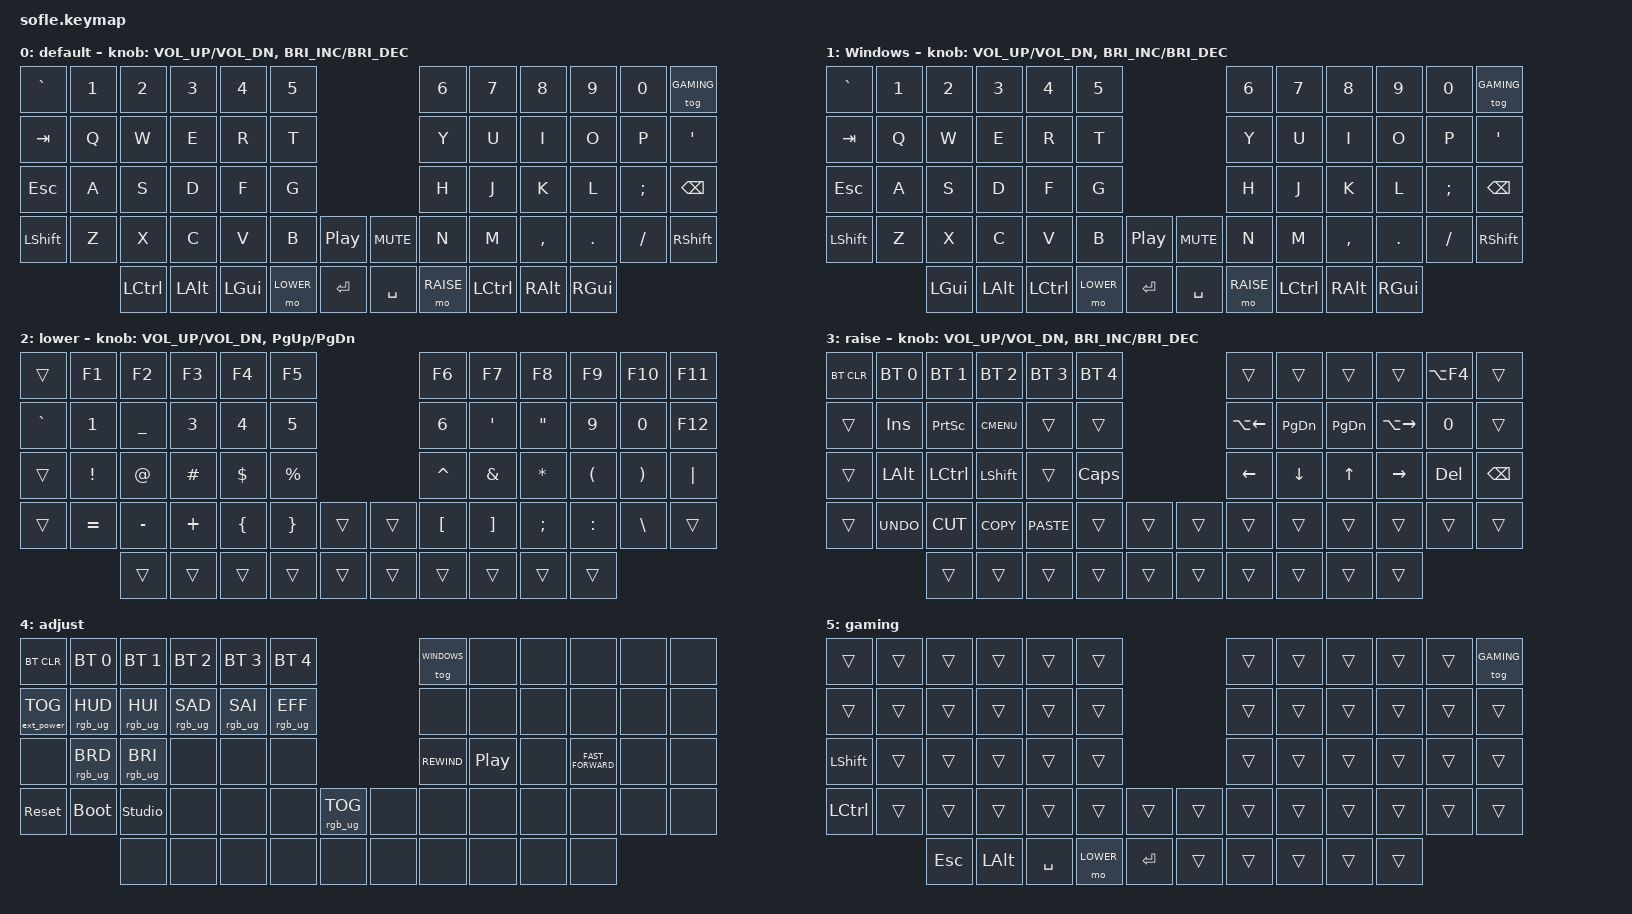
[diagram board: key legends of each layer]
/*
 * Copyright (c) 2020 The ZMK Contributors
 *
 * SPDX-License-Identifier: MIT
 */

#include <behaviors.dtsi>
#include <dt-bindings/zmk/bt.h>
#include <dt-bindings/zmk/ext_power.h>
#include <dt-bindings/zmk/keys.h>
#include <dt-bindings/zmk/rgb.h>

#define BASE       0
#define WINDOWS    1
#define LOWER      2
#define RAISE      3
#define ADJUST     4
#define GAMING     5

/ {
    // Activate ADJUST layer by pressing raise and lower

    conditional_layers {
        compatible = "zmk,conditional-layers";

        adjust_layer {
            if-layers = <LOWER RAISE>;
            then-layer = <ADJUST>;
        };
    };

    keymap {
        compatible = "zmk,keymap";

        default_layer {
            display-name = "default";

            // ------------------------------------------------------------------------------------------------------------
            // |   `   |  1  |  2  |  3   |  4   |  5   |                   |  6   |  7    |  8    |  9   |   0   |       |
            // |  ESC  |  Q  |  W  |  E   |  R   |  T   |                   |  Y   |  U    |  I    |  O   |   P   | BKSPC |
            // |  TAB  |  A  |  S  |  D   |  F   |  G   |                   |  H   |  J    |  K    |  L   |   ;   |   '   |
            // | SHIFT |  Z  |  X  |  C   |  V   |  B   |  MUTE  |  |       |  N   |  M    |  ,    |  .   |   /   | SHIFT |
            //               | GUI | ALT  | CTRL | LOWER|  ENTER |  | SPACE | RAISE| CTRL  | ALT   | GUI  |

            bindings = <
&kp GRAVE  &kp N1  &kp N2     &kp N3    &kp N4    &kp N5                                                    &kp N6  &kp N7     &kp N8     &kp N9    &kp N0    &tog GAMING
&kp TAB    &kp Q   &kp W      &kp E     &kp R     &kp T                                                     &kp Y   &kp U      &kp I      &kp O     &kp P     &kp SINGLE_QUOTE
&kp ESC    &kp A   &kp S      &kp D     &kp F     &kp G                                                     &kp H   &kp J      &kp K      &kp L     &kp SEMI  &kp BSPC
&kp LSHFT  &kp Z   &kp X      &kp C     &kp V     &kp B   &kp C_PP     &kp C_MUTE                           &kp N   &kp M      &kp COMMA  &kp DOT   &kp FSLH  &kp RSHFT
                   &kp LCTRL  &kp LALT  &kp LGUI  &mo LOWER   &kp ENTER    &kp SPACE  &mo RAISE   &kp LCTRL  &kp RALT   &kp RGUI
            >;

            sensor-bindings =
                <&inc_dec_kp C_VOL_UP C_VOL_DN>,
                <&inc_dec_kp C_BRIGHTNESS_INC C_BRIGHTNESS_DEC>;
        };

        Windows {
            display-name = "Windows";
            bindings = <
&kp GRAVE  &kp N1  &kp N2    &kp N3    &kp N4     &kp N5                                                    &kp N6  &kp N7     &kp N8     &kp N9    &kp N0    &tog GAMING
&kp TAB    &kp Q   &kp W     &kp E     &kp R      &kp T                                                     &kp Y   &kp U      &kp I      &kp O     &kp P     &kp SINGLE_QUOTE
&kp ESC    &kp A   &kp S     &kp D     &kp F      &kp G                                                     &kp H   &kp J      &kp K      &kp L     &kp SEMI  &kp BSPC
&kp LSHFT  &kp Z   &kp X     &kp C     &kp V      &kp B   &kp C_PP     &kp C_MUTE                           &kp N   &kp M      &kp COMMA  &kp DOT   &kp FSLH  &kp RSHFT
                   &kp LGUI  &kp LALT  &kp LCTRL  &mo LOWER   &kp ENTER    &kp SPACE  &mo RAISE   &kp LCTRL  &kp RALT   &kp RGUI
            >;

            sensor-bindings =
                <&inc_dec_kp C_VOL_UP C_VOL_DN>,
                <&inc_dec_kp C_BRIGHTNESS_INC C_BRIGHTNESS_DEC>;
        };

        lower_layer {
            display-name = "lower";

            // TODO: Some binds are waiting for shifted keycode support.
            // ------------------------------------------------------------------------------------------------------------
            // |       |  F1 |  F2 |  F3  |  F4  |  F5  |                   |  F6  |  F7   |  F8   |  F9  |  F10  |  F11  |
            // |   `   |  1  |  2  |  3   |  4   |  5   |                   |  6   |  7    |  8    |  9   |   0   |  F12  |
            // |       |  !  |  @  |  #   |  $   |  %   |                   |  ^   |  &    |  *    |  (   |   )   |   |   |
            // |       |  =  |  -  |  +   |  {   |  }   |        |  |       |  [   |  ]    |  ;    |  :   |   \   |       |
            //               |     |      |      |      |        |  |       |      |       |       |      |

            bindings = <
&trans     &kp F1     &kp F2     &kp F3    &kp F4    &kp F5                       &kp F6     &kp F7          &kp F8             &kp F9     &kp F10   &kp F11
&kp GRAVE  &kp N1     &kp UNDER  &kp N3    &kp N4    &kp N5                       &kp N6     &kp APOSTROPHE  &kp DOUBLE_QUOTES  &kp N9     &kp N0    &kp F12
&trans     &kp EXCL   &kp AT     &kp HASH  &kp DLLR  &kp PRCNT                    &kp CARET  &kp AMPS        &kp ASTRK          &kp LPAR   &kp RPAR  &kp PIPE
&trans     &kp EQUAL  &kp MINUS  &kp PLUS  &kp LBRC  &kp RBRC   &trans    &trans  &kp LBKT   &kp RBKT        &kp SEMI           &kp COLON  &kp BSLH  &trans
                      &trans     &trans    &trans    &trans     &trans    &trans  &trans     &trans          &trans             &trans
            >;

            sensor-bindings =
                <&inc_dec_kp C_VOL_UP C_VOL_DN>,
                <&inc_dec_kp PG_UP PG_DN>;
        };

        raise_layer {
            display-name = "raise";
            // Press the number-row 0 position while holding Raise to send Alt+F4.

            // ------------------------------------------------------------------------------------------------------------
            // | BTCLR | BT1  | BT2  |  BT3  |  BT4  |  BT5 |                |      |      |       |      |       |       |
            // |       | INS  | PSCR | GUI   |       |      |                | PGUP |      |   ^   |      |       |       |
            // |       | ALT  | CTRL | SHIFT |       | CAPS |                | PGDN |   <- |   v   |  ->  |  DEL  | BKSPC |
            // |       | UNDO | CUT  | COPY  | PASTE |      |      |  |      |      |      |       |      |       |       |
            //                |      |       |       |      |      |  |      |      |      |       |      |

            bindings = <
&bt BT_CLR  &bt BT_SEL 0  &bt BT_SEL 1  &bt BT_SEL 2  &bt BT_SEL 3  &bt BT_SEL 4                    &trans              &trans          &trans         &trans         &kp LA(F4)   &trans
&trans      &kp INS       &kp PSCRN     &kp K_CMENU   &trans        &trans                          &kp LA(LEFT_ARROW)  &kp PAGE_DOWN   &kp PAGE_DOWN  &kp LA(RIGHT)  &kp N0   &trans
&trans      &kp LALT      &kp LCTRL     &kp LSHFT     &trans        &kp CLCK                        &kp LEFT_ARROW      &kp DOWN_ARROW  &kp UP_ARROW   &kp RIGHT      &kp DEL  &kp BSPC
&trans      &kp K_UNDO    &kp K_CUT     &kp K_COPY    &kp K_PASTE   &trans        &trans    &trans  &trans              &trans          &trans         &trans         &trans   &trans
                          &trans        &trans        &trans        &trans        &trans    &trans  &trans              &trans          &trans         &trans
            >;

            sensor-bindings =
                <&inc_dec_kp C_VOL_UP C_VOL_DN>,
                <&inc_dec_kp C_BRIGHTNESS_INC C_BRIGHTNESS_DEC>;
        };

        adjust_layer {
            // ----------------------------------------------------------------------------------------------------------------------------
            // | BTCLR  |  BT1    |  BT2    |   BT3   |   BT4   |   BT5   |                  |      |      |       |      |       |       |
            // | EXTPWR | RGB_HUD | RGB_HUI | RGB_SAD | RGB_SAI | RGB_EFF |                  |      |      |       |      |       |       |
            // |        | RGB_BRD | RGB_BRI |         |         |         |                  |      |      |       |      |       |       |
            // |        |         |         |         |         |         | RGB_TOG | |      |      |      |       |      |       |       |
            //                    |         |         |         |         |         | |      |      |      |       |      |

            display-name = "adjust";
            bindings = <
&bt BT_CLR         &bt BT_SEL 0     &bt BT_SEL 1     &bt BT_SEL 2     &bt BT_SEL 3     &bt BT_SEL 4                               &tog WINDOWS   &none             &none  &none               &none  &none
&ext_power EP_TOG  &rgb_ug RGB_HUD  &rgb_ug RGB_HUI  &rgb_ug RGB_SAD  &rgb_ug RGB_SAI  &rgb_ug RGB_EFF                            &none         &none             &none  &none               &none  &none
&none              &rgb_ug RGB_BRD  &rgb_ug RGB_BRI  &none            &none            &none                                      &kp C_REWIND  &kp C_PLAY_PAUSE  &none  &kp C_FAST_FORWARD  &none  &none
&sys_reset         &bootloader      &studio_unlock   &none            &none            &none            &rgb_ug RGB_TOG    &none  &none         &none             &none  &none               &none  &none
                                    &none            &none            &none            &none            &none              &none  &none         &none             &none  &none
            >;
        };

        Gaming {
            display-name = "gaming";
            bindings = <
&trans     &trans  &trans     &trans     &trans     &trans                    &trans  &trans  &trans  &trans  &trans  &tog GAMING
&trans     &trans  &trans     &trans     &trans     &trans                    &trans  &trans  &trans  &trans  &trans  &trans
&kp LSHFT  &trans  &trans     &trans     &trans     &trans                    &trans  &trans  &trans  &trans  &trans  &trans
&kp LCTRL  &trans  &trans     &trans     &trans     &trans  &trans    &trans  &trans  &trans  &trans  &trans  &trans  &trans
                   &kp ESC    &kp LALT   &kp SPACE  &mo LOWER  &kp ENTER  &trans  &trans  &trans  &trans  &trans
            >;
        };

    };
};
